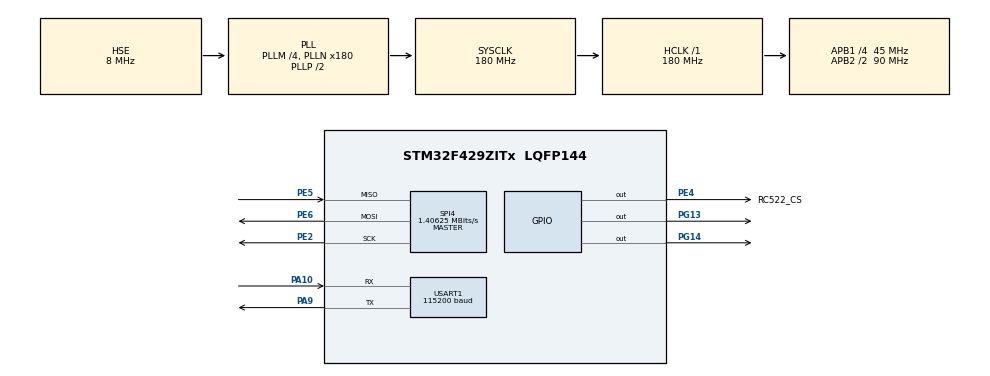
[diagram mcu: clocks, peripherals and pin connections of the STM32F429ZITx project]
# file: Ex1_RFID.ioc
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Mcu.Family=STM32F4
Mcu.Name=STM32F429ZITx
Mcu.Package=LQFP144
NVIC.PriorityGroup=NVIC_PRIORITYGROUP_4
PA10.Mode=Asynchronous
PA10.Signal=USART1_RX
PA13.Mode=Serial_Wire
PA13.Signal=SYS_JTMS-SWDIO
PA14.Mode=Serial_Wire
PA14.Signal=SYS_JTCK-SWCLK
PA9.Mode=Asynchronous
PA9.Signal=USART1_TX
PE2.Mode=Full_Duplex_Master
PE2.Signal=SPI4_SCK
PE4.GPIO_Label=RC522_CS
PE4.PinState=GPIO_PIN_SET
PE4.Signal=GPIO_Output
PE5.Mode=Full_Duplex_Master
PE5.Signal=SPI4_MISO
PE6.Mode=Full_Duplex_Master
PE6.Signal=SPI4_MOSI
PG13.Signal=GPIO_Output
PG14.Signal=GPIO_Output
PH0/OSC_IN.Mode=HSE-External-Oscillator
PH0/OSC_IN.Signal=RCC_OSC_IN
PH1/OSC_OUT.Mode=HSE-External-Oscillator
PH1/OSC_OUT.Signal=RCC_OSC_OUT
ProjectManager.HeapSize=0x200
ProjectManager.StackSize=0x400
ProjectManager.TargetToolchain=STM32CubeIDE
RCC.48MHZClocksFreq_Value=90000000
RCC.AHBFreq_Value=180000000
RCC.APB1CLKDivider=RCC_HCLK_DIV4
RCC.APB1Freq_Value=45000000
RCC.APB1TimFreq_Value=90000000
RCC.APB2CLKDivider=RCC_HCLK_DIV2
RCC.APB2Freq_Value=90000000
RCC.APB2TimFreq_Value=180000000
RCC.CortexFreq_Value=180000000
RCC.HCLKFreq_Value=180000000
RCC.HSE_VALUE=8000000
RCC.HSI_VALUE=16000000
RCC.LSE_VALUE=32768
RCC.PLLM=4
RCC.PLLN=180
RCC.PLLSourceVirtual=RCC_PLLSOURCE_HSE
RCC.SYSCLKFreq_VALUE=180000000
RCC.SYSCLKSource=RCC_SYSCLKSOURCE_PLLCLK
RCC.VCOOutputFreq_Value=360000000
SPI4.BaudRatePrescaler=SPI_BAUDRATEPRESCALER_64
SPI4.CalculateBaudRate=1.40625 MBits/s
SPI4.Direction=SPI_DIRECTION_2LINES
SPI4.Mode=SPI_MODE_MASTER
SPI4.VirtualType=VM_MASTER
USART1.BaudRate=115200
USART1.VirtualMode=VM_ASYNC
board=custom

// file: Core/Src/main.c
/* Exercise 1: instructor MFRC522 driver + SPI4 + USART1 on STM32F429ZI. */
#include "main.h"
/* USER CODE BEGIN Includes */
#include "tm_stm32f4_mfrc522.h"
#include <stdio.h>
#include <string.h>
/* USER CODE END Includes */

SPI_HandleTypeDef hspi4;
UART_HandleTypeDef huart1;
/* USER CODE BEGIN PV */
/* Watch these in CubeIDE when diagnosing wiring without a serial terminal. */
volatile uint8_t rfid_version;
volatile uint8_t last_card_id[5]; /* UID[0..3], XOR check byte[4]. */
volatile uint32_t cards_found;
volatile uint32_t uart_errors;
/* USER CODE END PV */

void SystemClock_Config(void);
static void MX_GPIO_Init(void);
static void MX_SPI4_Init(void);
static void MX_USART1_UART_Init(void);

/* USER CODE BEGIN 0 */
static void Serial_Print(const char *text)
{
  if (HAL_UART_Transmit(&huart1, (const uint8_t *)text,
                        (uint16_t)strlen(text), 100) != HAL_OK) {
    uart_errors++;
  }
}
/* USER CODE END 0 */

int main(void)
{
  HAL_Init();
  SystemClock_Config();
  MX_GPIO_Init();
  MX_SPI4_Init();
  MX_USART1_UART_Init();

  /* USER CODE BEGIN 2 */
  char buf[100];
  /* The supplied low-level driver can receive up to MFRC522_MAX_LEN bytes. */
  uint8_t CardID[MFRC522_MAX_LEN] = {0};
  HAL_Delay(50);
  Serial_Print("\r\nWelcome! Ex1 RC522 / SPI4 / USART1 115200 8N1\r\n");
  TM_MFRC522_Init();
  HAL_Delay(50);
  rfid_version = TM_MFRC522_ReadRegister(MFRC522_REG_VERSION);
  snprintf(buf, sizeof(buf), "RC522 VersionReg: 0x%02X\r\n", (unsigned)rfid_version);
  Serial_Print(buf);
  /* USER CODE END 2 */

  while (1) {
    /* USER CODE BEGIN 3 */
    if (rfid_version == 0x00 || rfid_version == 0xFF) {
      HAL_GPIO_WritePin(GPIOG, GPIO_PIN_14, GPIO_PIN_SET);
      HAL_GPIO_TogglePin(GPIOG, GPIO_PIN_13);
      Serial_Print("RC522 not responding: check 3V, GND, RST and SPI4 wiring.\r\n");
      HAL_Delay(1000);
      TM_MFRC522_Init();
      HAL_Delay(50);
      rfid_version = TM_MFRC522_ReadRegister(MFRC522_REG_VERSION);
      continue;
    }

    HAL_Delay(100);
    HAL_GPIO_TogglePin(GPIOG, GPIO_PIN_13);
    if (TM_MFRC522_Check(CardID) == MI_OK) {
      for (unsigned i = 0; i < 5; ++i) {
        last_card_id[i] = CardID[i];
      }
      cards_found++;
      HAL_GPIO_WritePin(GPIOG, GPIO_PIN_14, GPIO_PIN_SET);
      snprintf(buf, sizeof(buf),
               "RFID Card Found!\r\nReading from card: %02X %02X %02X %02X (BCC %02X)\r\n",
               (unsigned)CardID[0], (unsigned)CardID[1], (unsigned)CardID[2],
               (unsigned)CardID[3], (unsigned)CardID[4]);
      Serial_Print(buf);
    } else {
      HAL_GPIO_WritePin(GPIOG, GPIO_PIN_14, GPIO_PIN_RESET);
      Serial_Print("RFID Card Not Found!\r\n");
    }
    HAL_Delay(300);
  }
  /* USER CODE END 3 */
}

void SystemClock_Config(void)
{
  RCC_OscInitTypeDef osc = {0};
  RCC_ClkInitTypeDef clk = {0};
  __HAL_RCC_PWR_CLK_ENABLE();
  __HAL_PWR_VOLTAGESCALING_CONFIG(PWR_REGULATOR_VOLTAGE_SCALE1);
  osc.OscillatorType = RCC_OSCILLATORTYPE_HSE;
  osc.HSEState = RCC_HSE_ON;
  osc.PLL.PLLState = RCC_PLL_ON;
  osc.PLL.PLLSource = RCC_PLLSOURCE_HSE;
  osc.PLL.PLLM = 4;
  osc.PLL.PLLN = 180;
  osc.PLL.PLLP = RCC_PLLP_DIV2;
  osc.PLL.PLLQ = 4;
  if (HAL_RCC_OscConfig(&osc) != HAL_OK) Error_Handler();
  if (HAL_PWREx_EnableOverDrive() != HAL_OK) Error_Handler();
  clk.ClockType = RCC_CLOCKTYPE_HCLK | RCC_CLOCKTYPE_SYSCLK |
                  RCC_CLOCKTYPE_PCLK1 | RCC_CLOCKTYPE_PCLK2;
  clk.SYSCLKSource = RCC_SYSCLKSOURCE_PLLCLK;
  clk.AHBCLKDivider = RCC_SYSCLK_DIV1;
  clk.APB1CLKDivider = RCC_HCLK_DIV4;
  clk.APB2CLKDivider = RCC_HCLK_DIV2;
  if (HAL_RCC_ClockConfig(&clk, FLASH_LATENCY_5) != HAL_OK) Error_Handler();
}

static void MX_SPI4_Init(void)
{
  hspi4.Instance = SPI4;
  hspi4.Init.Mode = SPI_MODE_MASTER;
  hspi4.Init.Direction = SPI_DIRECTION_2LINES;
  hspi4.Init.DataSize = SPI_DATASIZE_8BIT;
  hspi4.Init.CLKPolarity = SPI_POLARITY_LOW;
  hspi4.Init.CLKPhase = SPI_PHASE_1EDGE;
  hspi4.Init.NSS = SPI_NSS_SOFT;
  hspi4.Init.BaudRatePrescaler = SPI_BAUDRATEPRESCALER_64; /* 90 MHz / 64. */
  hspi4.Init.FirstBit = SPI_FIRSTBIT_MSB;
  hspi4.Init.TIMode = SPI_TIMODE_DISABLE;
  hspi4.Init.CRCCalculation = SPI_CRCCALCULATION_DISABLE;
  hspi4.Init.CRCPolynomial = 10;
  if (HAL_SPI_Init(&hspi4) != HAL_OK) Error_Handler();
}

static void MX_USART1_UART_Init(void)
{
  huart1.Instance = USART1;
  huart1.Init.BaudRate = 115200;
  huart1.Init.WordLength = UART_WORDLENGTH_8B;
  huart1.Init.StopBits = UART_STOPBITS_1;
  huart1.Init.Parity = UART_PARITY_NONE;
  huart1.Init.Mode = UART_MODE_TX_RX;
  huart1.Init.HwFlowCtl = UART_HWCONTROL_NONE;
  huart1.Init.OverSampling = UART_OVERSAMPLING_16;
  if (HAL_UART_Init(&huart1) != HAL_OK) Error_Handler();
}

static void MX_GPIO_Init(void)
{
  GPIO_InitTypeDef gpio = {0};
  __HAL_RCC_GPIOE_CLK_ENABLE();
  __HAL_RCC_GPIOG_CLK_ENABLE();
  HAL_GPIO_WritePin(GPIOE, GPIO_PIN_4, GPIO_PIN_SET);
  HAL_GPIO_WritePin(GPIOG, GPIO_PIN_13 | GPIO_PIN_14, GPIO_PIN_RESET);
  gpio.Pin = GPIO_PIN_4;
  gpio.Mode = GPIO_MODE_OUTPUT_PP;
  gpio.Pull = GPIO_NOPULL;
  gpio.Speed = GPIO_SPEED_FREQ_LOW;
  HAL_GPIO_Init(GPIOE, &gpio);
  gpio.Pin = GPIO_PIN_13 | GPIO_PIN_14;
  HAL_GPIO_Init(GPIOG, &gpio);
}

void Error_Handler(void)
{
  __disable_irq();
  while (1) {}
}
